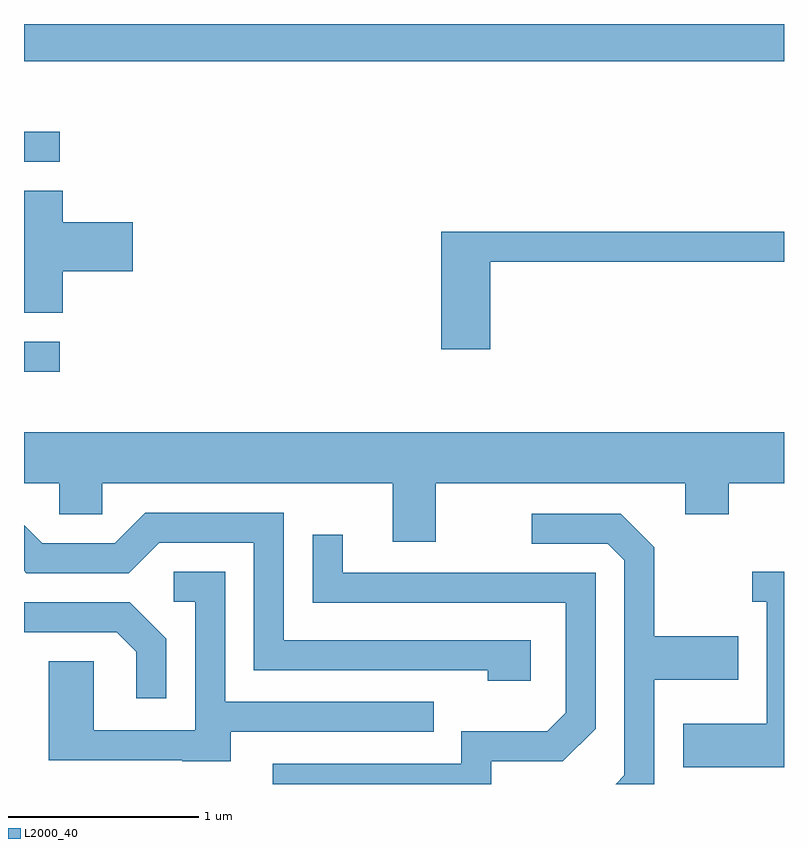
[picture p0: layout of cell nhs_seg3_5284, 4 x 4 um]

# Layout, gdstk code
import gdstk
lib = gdstk.Library(unit=1e-6, precision=1e-09)
def R(c, l, rs):  # rectangles x0, y0, x1, y1
    for r in rs: c.add(gdstk.rectangle(r[:2], r[2:], *l))
def P(c, l, *ps):  # polygons
    for p in ps: c.add(gdstk.Polygon(p, *l))
L2000_40 = (2000, 40)

nhs_seg3_5284 = lib.new_cell('nhs_seg3_5284')
R(nhs_seg3_5284, L2000_40, [(339.611,1222.061,339.798,1222.219), (339.611,1223.166,339.798,1223.324), (339.611,1223.696,343.611,1223.892)])
P(nhs_seg3_5284, L2000_40, [(339.814,1222.591),(340.184,1222.591),(340.184,1222.849),(339.814,1222.849),(339.814,1223.014),(339.611,1223.014),(339.611,1222.371),(339.814,1222.371)],
  [(342.064,1222.641),(343.611,1222.641),(343.611,1222.799),(341.806,1222.799),(341.806,1222.181),(342.064,1222.181)],
  [(341.779,1221.476),(343.091,1221.476),(343.091,1221.311),(343.319,1221.311),(343.319,1221.476),(343.611,1221.476),(343.611,1221.744),(339.611,1221.744),(339.611,1221.476),(339.796,1221.476),(339.796,1221.311),(340.024,1221.311),(340.024,1221.476),(341.551,1221.476),(341.551,1221.166),(341.779,1221.166)],
  [(342.279,1220.649),(340.979,1220.649),(340.979,1221.319),(340.249,1221.319),(340.089,1221.159),(339.707,1221.159),(339.611,1221.255),(339.611,1221.014),(339.624,1221.001),(340.162,1221.001),(340.322,1221.161),(340.821,1221.161),(340.821,1220.491),(342.051,1220.491),(342.051,1220.436),(342.279,1220.436)],
  [(342.929,1220.441),(343.369,1220.441),(343.369,1220.669),(342.929,1220.669),(342.929,1221.137),(342.752,1221.314),(342.283,1221.314),(342.283,1221.156),(342.684,1221.156),(342.771,1221.069),(342.771,1219.937),(342.726,1219.892),(342.929,1219.892)],
  [(342.069,1220.011),(342.447,1220.011),(342.619,1220.184),(342.619,1221.004),(341.289,1221.004),(341.289,1221.203),(341.131,1221.203),(341.131,1220.846),(342.461,1220.846),(342.461,1220.267),(342.364,1220.169),(341.911,1220.169),(341.911,1219.999),(340.921,1219.999),(340.921,1219.892),(342.069,1219.892)],
  [(340.699,1220.166),(341.768,1220.166),(341.768,1220.324),(340.669,1220.324),(340.669,1221.009),(340.398,1221.009),(340.398,1220.851),(340.511,1220.851),(340.511,1220.174),(339.979,1220.174),(339.979,1220.539),(339.741,1220.539),(339.741,1220.016),(340.445,1220.016),(340.445,1220.011),(340.699,1220.011)],
  [(343.611,1221.009),(343.443,1221.009),(343.443,1220.851),(343.521,1220.851),(343.521,1220.209),(343.081,1220.209),(343.081,1219.981),(343.611,1219.981)],
  [(340.359,1220.657),(340.167,1220.849),(339.611,1220.849),(339.611,1220.691),(340.099,1220.691),(340.201,1220.589),(340.201,1220.343),(340.359,1220.343)])

lib.write_gds('nhs_seg3_5284.gds')
